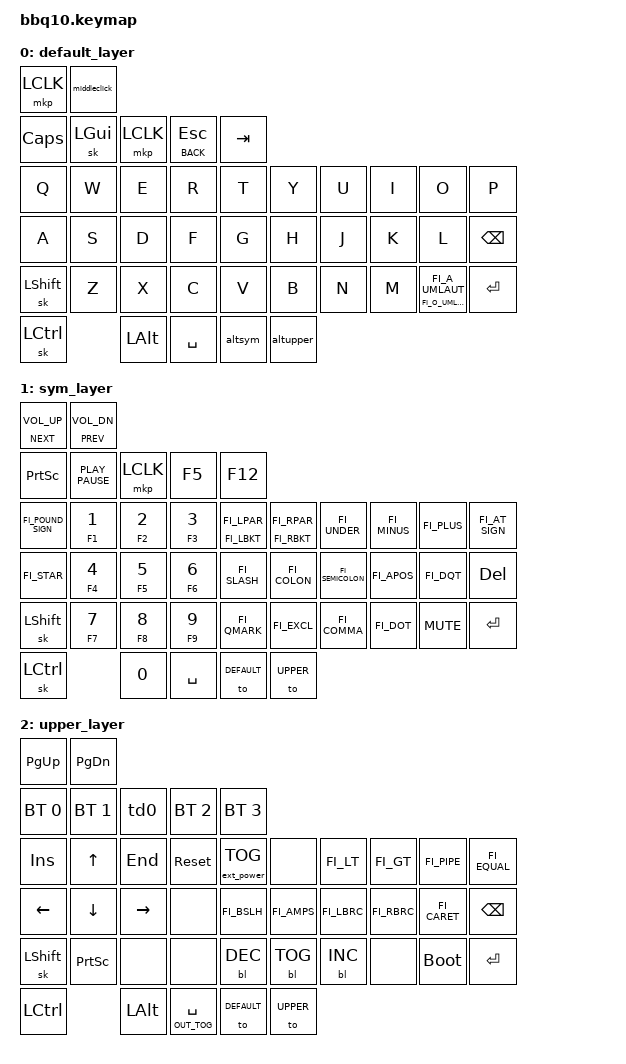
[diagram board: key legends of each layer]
/*
 * Copyright (c) 2023 ZitaoTech
 *
 * SPDX-License-Identifier: MIT
 */

#include <behaviors.dtsi>
#include <dt-bindings/zmk/backlight.h>
#include <dt-bindings/zmk/bt.h>
#include <dt-bindings/zmk/ext_power.h>
#include <dt-bindings/zmk/keys.h>
#include <dt-bindings/zmk/mouse.h>
#include <dt-bindings/zmk/outputs.h>
#include "keys_fi.h"

#define DEFAULT 0
#define SYM 1
#define UPPER 2

&mt {
    tapping-term-ms = <400>;
};

/ {
    behaviors {
        td0: tap_dance_0 {
            compatible = "zmk,behavior-tap-dance";
            #binding-cells = <0>;
            tapping-term-ms = <400>;
            bindings = <&mkp LCLK>, <&bt BT_CLR>;
        };
    };

    behaviors {
        hm: homerow_mods {
            compatible = "zmk,behavior-hold-tap";
            #binding-cells = <2>;
            tapping-term-ms = <500>;
            bindings = <&out &kp>;
        };
    };

    behaviors {
        altsym: altsym {
            compatible = "zmk,behavior-tap-dance";
            label = "altsym";
            tapping-term-ms = <300>;
            #binding-cells = <0>;
            bindings = <&sl 1>, <&tog 1>;
        };

        altupper: altupper {
            compatible = "zmk,behavior-tap-dance";
            label = "altupper";
            tapping-term-ms = <300>;
            #binding-cells = <0>;
            bindings = <&sl 2>, <&tog 2>;
        };

	middleclick: middleclick {
	    compatible = "zmk,behavior-tap-dance";
	    label = "middleclick";
	    tapping-term-ms = <300>;
            #binding-cells = <0>;
	    bindings = <&mkp RCLK>, <&mkp MCLK>;
		    
	};

    keymap {
        compatible = "zmk,keymap";

        default_layer {
		bindings = <
			&mkp LCLK       &middleclick
			&kp CLCK        &sk LGUI   &mkp LCLK  &mt K_BACK ESC  &kp TAB
			&kp Q           &kp W      &kp E      &kp R           &kp T     &kp Y        &kp U    &kp I      &kp O          &kp P
			&kp A           &kp S      &kp D      &kp F           &kp G     &kp H        &kp J    &kp K      &kp L          &kp BSPC
			&sk LEFT_SHIFT  &kp Z      &kp X      &kp C           &kp V     &kp B        &kp N    &kp M      &mt FI_O_UMLAUT FI_A_UMLAUT	&kp ENTER
			&sk LCTRL                  &kp LALT  &kp SPACE    &altsym  &altupper
			>;
        };

        sym_layer {
		bindings = <
			&mt K_NEXT C_VOL_UP  &mt K_PREV C_VOL_DN
			&kp PSCRN     &kp K_PLAY_PAUSE &mkp LCLK  &kp F5     &kp F12
			&kp FI_POUND_SIGN      &mt F1 N1        &mt F2 N2    &mt F3 N3  &mt FI_LBKT FI_LPAR  &mt FI_RBKT FI_RPAR	&kp FI_UNDER		&kp FI_MINUS	&kp FI_PLUS	&kp FI_AT_SIGN
			&kp FI_STAR 	       &mt F4 N4        &mt F5 N5    &mt F6 N6  &kp FI_SLASH 	     &kp FI_COLON     &kp FI_SEMICOLON 	&kp FI_APOS 	&kp FI_DQT 	&kp DEL
			&sk LSHFT 	       &mt F7 N7        &mt F8 N8    &mt F9 N9  &kp FI_QMARK 	     &kp FI_EXCL      &kp FI_COMMA 	&kp FI_DOT 	&kp C_MUTE 	&kp ENTER
			&sk LCTRL 	       &kp N0           &kp SPACE    &to DEFAULT    &to UPPER
			>;
        };

        upper_layer {
		bindings = <
			&kp PG_UP     &kp PG_DN
			&bt BT_SEL 0  &bt BT_SEL 1  &td0       &bt BT_SEL 2  &bt BT_SEL 3
			&kp INS       &kp UP 	    &kp END    &sys_reset    &ext_power EP_TOG	&none	&kp FI_LT	&kp FI_GT	&kp FI_PIPE	&kp FI_EQUAL
			&kp LEFT      &kp DOWN 	    &kp RIGHT  &none 	     &kp FI_BSLH 	&kp FI_AMPS 		&kp FI_LBRC 	&kp FI_RBRC 	&kp FI_CARET	&kp BSPC
			&sk LSHFT     &kp PSCRN     &none      &none 	     &bl BL_DEC 	&bl BL_TOG 		&bl BL_INC 	&none 		&bootloader 	&kp ENTER
			&kp LCTRL     &kp LALT      &hm OUT_TOG SPACE        &to DEFAULT        &to UPPER
			>;
        };
    };
    };
  };
    
